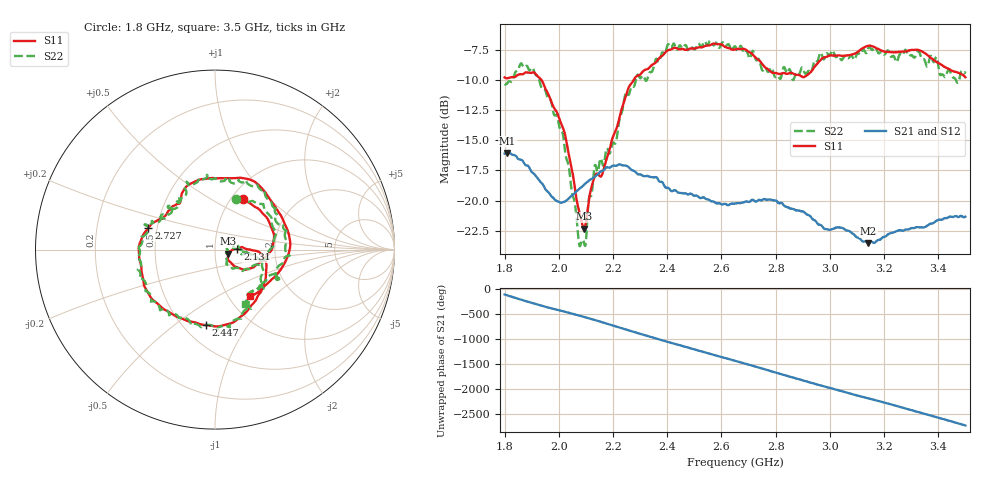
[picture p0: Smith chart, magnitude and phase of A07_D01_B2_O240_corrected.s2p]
! Created with skrf 1.9.0 (http://scikit-rf.org).
# Hz S RI R 50.0
!freq ReS11 ImS11 ReS21 ImS21 ReS12 ImS12 ReS22 ImS22
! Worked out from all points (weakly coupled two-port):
!   1601 points, 1.8 GHz to 3.5 GHz, reference 50 ohm
!   highest |S21| = -16.06 dB at 1.81 GHz (marker M1); lowest = -23.5 dB at 3.142 GHz (marker M2)
!   lowest |S11| = -22.3 dB at 2.093 GHz (marker M3), VSWR 1.17, Z = 57.8 - j2.58 ohm
!   |S11| at or under -10 dB: 1.936 GHz to 2.277 GHz (341.1 MHz wide, 16.2 % of centre)
!   |S22| runs from -23.8 to -6.7 dB; largest |S21 - S12| = 0.0032
!   S11 on the Smith chart (normalised r, x): 1.8 GHz: 1.12, +0.71; 2.131 GHz: 1.29, +0.00; 2.447 GHz: 0.64, -0.66; 2.727 GHz: 0.45, +0.13; 3.5 GHz: 1.25, -0.72
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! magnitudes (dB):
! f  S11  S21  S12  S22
! 1.8 GHz  -9.8  -16.1  -16.1  -10.4
! 1.81 GHz  -9.9  -16.1  -16.1  -10.3
! 1.901 GHz  -9.4  -17.6  -17.6  -9.0
! 1.969 GHz  -11.6  -19.5  -19.5  -11.6
! 2.021 GHz  -14.4  -20.1  -20.1  -15.5
! 2.084 GHz  -21.7  -18.9  -18.9  -23.4
! 2.093 GHz  -22.3  -18.7  -18.7  -23.5
! 2.131 GHz  -18.1  -18.0  -18.0  -17.2
! 2.16 GHz  -17.8  -17.5  -17.5  -16.9
! 2.208 GHz  -14.3  -17.1  -17.1  -15.3
! 2.26 GHz  -10.5  -17.3  -17.3  -11.1
! 2.367 GHz  -8.3  -18.3  -18.3  -8.5
! 2.447 GHz  -7.5  -19.4  -19.4  -7.1
! 2.65 GHz  -7.5  -20.3  -20.2  -7.2
! 2.727 GHz  -8.2  -20.1  -20.1  -8.3
! 2.81 GHz  -9.5  -20.2  -20.1  -9.7
! 2.934 GHz  -9.3  -21.5  -21.5  -9.2
! 3.142 GHz  -7.2  -23.5  -23.4  -7.4
! 3.217 GHz  -7.7  -22.8  -22.7  -7.7
! 3.329 GHz  -7.5  -22.2  -22.2  -7.7
! 3.416 GHz  -8.8  -21.6  -21.5  -9.6
! 3.5 GHz  -9.8  -21.3  -21.3  -9.3
